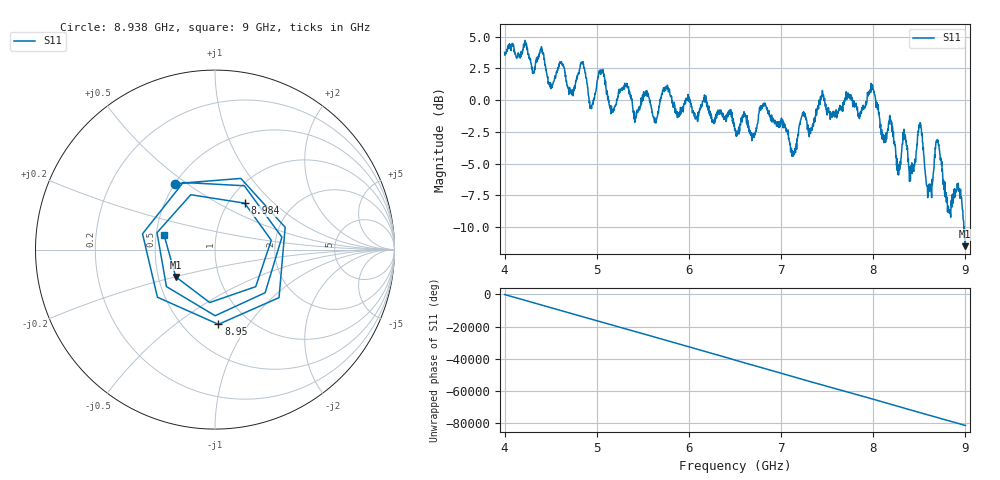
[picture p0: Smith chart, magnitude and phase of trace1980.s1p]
! Created with skrf 1.8.0 (http://scikit-rf.org).
# Hz S RI R 50.0
!freq ReS11 ImS11
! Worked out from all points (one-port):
!   1601 points, 4 GHz to 9 GHz, reference 50 ohm
!   lowest |S11| = -11.5 dB at 8.997 GHz (marker M1), VSWR 1.73, Z = 30.8 - j10.1 ohm
!   |S11| at or under -10 dB: 8.982957 GHz to 8.987437 GHz (4.481 MHz wide, 0.0499 % of centre); 8.98841 GHz to end of sweep
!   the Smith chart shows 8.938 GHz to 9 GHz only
!   S11 on the Smith chart (normalised r, x): 8.938 GHz: 0.50, +0.45; 8.95 GHz: 0.73, -0.73; 8.984 GHz: 1.19, +0.68; 9 GHz: 0.55, +0.10
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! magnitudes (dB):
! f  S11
! 4 GHz  3.8
! 4.497 GHz  1.4
! 4.625 GHz  2.8
! 4.722 GHz  0.6
! 4.847 GHz  2.9
! 4.941 GHz  -0.6
! 5.044 GHz  2.0
! 5.159 GHz  -0.5
! 5.25 GHz  0.6
! 5.875 GHz  -1.4
! 6.5 GHz  -2.4
! 6.822 GHz  -0.2
! 7.125 GHz  -4.3
! 7.438 GHz  0.3
! 7.75 GHz  0.3
! 7.994 GHz  1.1
! 8.272 GHz  -5.4
! 8.375 GHz  -4.3
! 8.428 GHz  -5.3
! 8.506 GHz  -1.9
! 8.609 GHz  -6.9
! 8.697 GHz  -3.2
! 8.819 GHz  -8.8
! 8.938 GHz  -7.4
! 8.95 GHz  -7.6
! 8.984 GHz  -10.3
! 8.997 GHz  -11.5
! 9 GHz  -10.6
